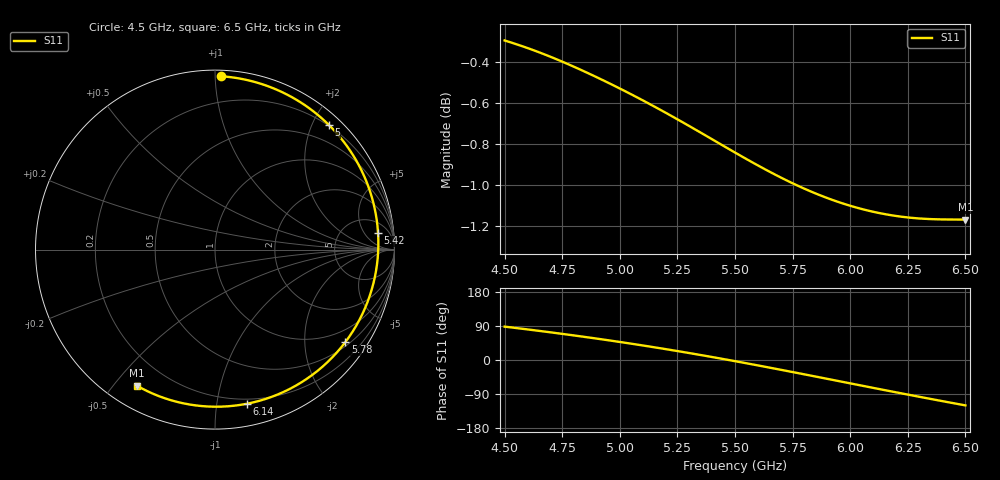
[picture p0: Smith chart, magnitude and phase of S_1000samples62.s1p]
! TOUCHSTONE file generated by CST MICROWAVE STUDIO
! Date and time: Wed Oct 26 20:50:51 2022
! Project name: L.cst
! Parameters = {Di=1.27; Epsilon_r=1.56; InnerDiameter=1.27; Length=2; Lf=10; Lg=60; OuterConductorThickness=0.2921; OuterDiameter=3.6; Wf=3; Wp=41.2; de=1.5; df=6.8; g=0.8; gx=4.97221; gy=1.59884; h=2.34; hf=1.524; px=8.37002; py=9.68145; w=9.7; wx=3.39781; wy=8.0826}
! Header version: 2018
! Port assignment regex: !\s*Touchstone port\s*([0-9]+)\s*=\s*(CST MWS port|CST DS port)\s*([0-9]+|Zmin|Zmax)\s*\(\"(.*)\"\)(\s*mode\s*([0-9]+))?.*
! Touchstone port assignment:
! Touchstone port 1 = CST MWS port 1 ("")
# GHz S DB R 50
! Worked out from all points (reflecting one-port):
!   101 points, 4.5 GHz to 6.5 GHz, reference 50 ohm
!   lowest |S11| = -1.2 dB at 6.5 GHz (marker M1), VSWR 14.90, Z = 4.48 - j28.8 ohm
!   phase of S11 starts at 88 deg and turns -208 deg over the sweep
!   S11 on the Smith chart (normalised r, x): 4.5 GHz: 0.04, +1.03; 5 GHz: 0.19, +2.25; 5.42 GHz: 10, +11; 5.78 GHz: 0.61, -3.03; 6.14 GHz: 0.16, -1.21; 6.5 GHz: 0.09, -0.58
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4.5  -0.30 88.0
4.58  -0.33 82.2
4.64  -0.35 77.6
4.76  -0.40 68.2
4.88  -0.47 58.2
5  -0.53 47.6
5.12  -0.60 36.4
5.2  -0.65 28.6
5.26  -0.69 22.6
5.34  -0.74 14.3
5.42  -0.79 5.7
5.5  -0.84 -3.1
5.56  -0.88 -9.8
5.62  -0.92 -16.6
5.68  -0.95 -23.6
5.76  -1.00 -33.0
5.78  -1.01 -35.4
5.84  -1.04 -42.5
5.9  -1.06 -49.7
6  -1.10 -61.6
6.08  -1.12 -71.2
6.14  -1.14 -78.3
6.2  -1.15 -85.4
6.26  -1.16 -92.4
6.32  -1.16 -99.4
6.38  -1.17 -106.2
6.44  -1.17 -113.1
6.5  -1.17 -119.8
